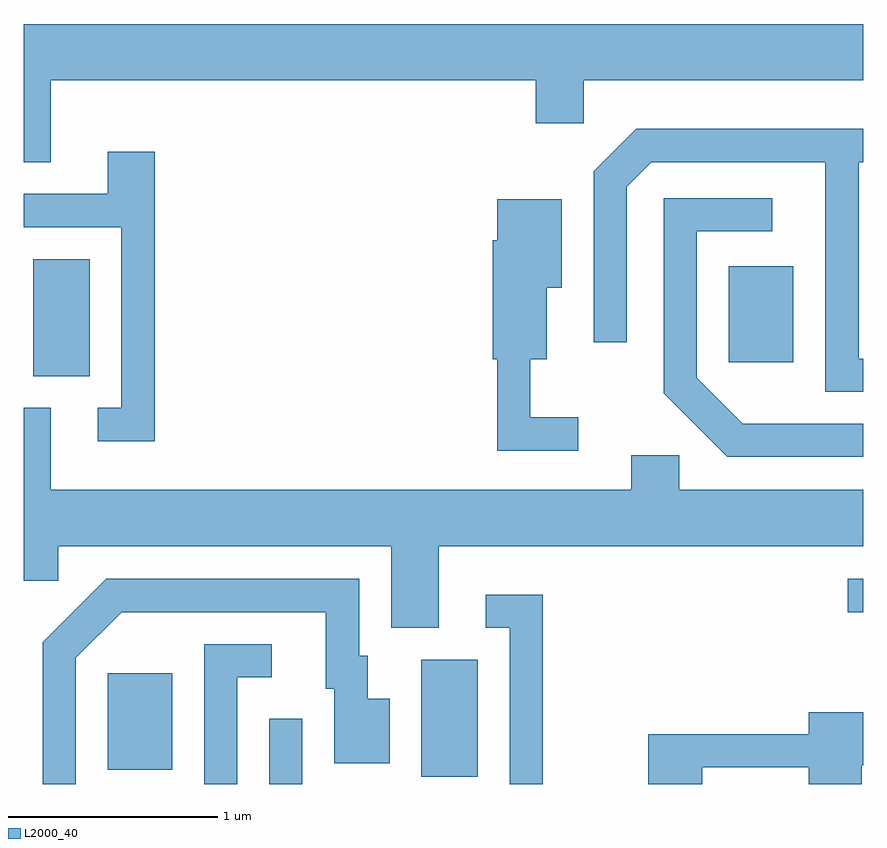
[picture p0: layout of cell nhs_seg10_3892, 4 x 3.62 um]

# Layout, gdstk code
import gdstk
lib = gdstk.Library(unit=1e-6, precision=1e-09)
def R(c, l, rs):  # rectangles x0, y0, x1, y1
    for r in rs: c.add(gdstk.rectangle(r[:2], r[2:], *l))
def P(c, l, *ps):  # polygons
    for p in ps: c.add(gdstk.Polygon(p, *l))
L2000_40 = (2000, 40)

nhs_seg10_3892 = lib.new_cell('nhs_seg10_3892')
R(nhs_seg10_3892, L2000_40, [(300.781,2150.522,300.939,2150.833), (301.506,2150.556,301.774,2151.114), (300.011,2150.591,300.319,2151.049), (303.538,2151.341,303.611,2151.499), (299.656,2152.466,299.924,2153.024), (302.971,2152.531,303.279,2152.989)])
P(nhs_seg10_3892, L2000_40, [(299.739,2153.876),(302.051,2153.876),(302.051,2153.671),(302.279,2153.671),(302.279,2153.876),(303.611,2153.876),(303.611,2154.144),(299.611,2154.144),(299.611,2153.486),(299.739,2153.486)],
  [(303.611,2152.549),(303.589,2152.549),(303.589,2153.486),(303.611,2153.486),(303.611,2153.644),(302.529,2153.644),(302.326,2153.442),(302.326,2152.628),(302.484,2152.628),(302.484,2153.369),(302.602,2153.486),(303.431,2153.486),(303.431,2152.391),(303.611,2152.391)],
  [(300.234,2153.534),(300.011,2153.534),(300.011,2153.334),(299.611,2153.334),(299.611,2153.176),(300.076,2153.176),(300.076,2152.314),(299.963,2152.314),(299.963,2152.156),(300.234,2152.156)],
  [(303.611,2152.239),(303.037,2152.239),(302.819,2152.457),(302.819,2153.156),(303.178,2153.156),(303.178,2153.314),(302.661,2153.314),(302.661,2152.384),(302.964,2152.081),(303.611,2152.081)],
  [(302.253,2152.269),(302.024,2152.269),(302.024,2152.546),(302.104,2152.546),(302.104,2152.886),(302.174,2152.886),(302.174,2153.309),(301.866,2153.309),(301.866,2153.114),(301.846,2153.114),(301.846,2152.546),(301.866,2152.546),(301.866,2152.111),(302.253,2152.111)],
  [(301.589,2151.656),(303.611,2151.656),(303.611,2151.924),(302.734,2151.924),(302.734,2152.089),(302.506,2152.089),(302.506,2151.924),(299.739,2151.924),(299.739,2152.314),(299.611,2152.314),(299.611,2151.491),(299.774,2151.491),(299.774,2151.656),(301.361,2151.656),(301.361,2151.266),(301.589,2151.266)],
  [(299.859,2151.124),(300.077,2151.341),(301.051,2151.341),(301.051,2150.976),(301.091,2150.976),(301.091,2150.621),(301.354,2150.621),(301.354,2150.929),(301.249,2150.929),(301.249,2151.134),(301.209,2151.134),(301.209,2151.499),(300.004,2151.499),(299.701,2151.197),(299.701,2150.522),(299.859,2150.522)],
  [(302.084,2151.424),(301.813,2151.424),(301.813,2151.266),(301.926,2151.266),(301.926,2150.522),(302.084,2150.522)],
  [(300.629,2151.031),(300.793,2151.031),(300.793,2151.189),(300.471,2151.189),(300.471,2150.522),(300.629,2150.522)],
  [(302.844,2150.601),(303.351,2150.601),(303.351,2150.522),(303.604,2150.522),(303.604,2150.611),(303.611,2150.611),(303.611,2150.864),(303.351,2150.864),(303.351,2150.759),(302.586,2150.759),(302.586,2150.522),(302.844,2150.522)])

lib.write_gds('nhs_seg10_3892.gds')
